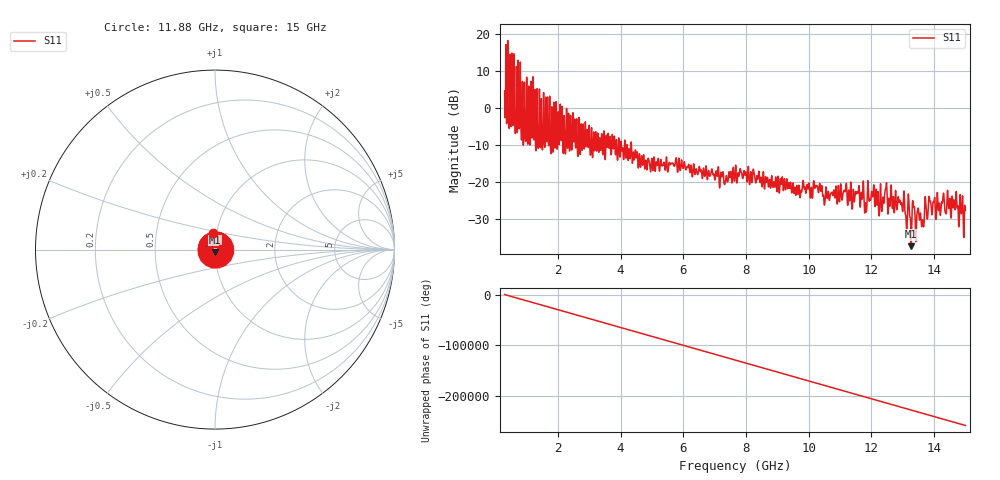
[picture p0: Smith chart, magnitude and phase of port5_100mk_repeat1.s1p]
# GHZ S RI R 50.0
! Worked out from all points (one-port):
!   12801 points, 300 MHz to 15 GHz, reference 50 ohm
!   lowest |S11| = -37.2 dB at 13.27 GHz (marker M1), VSWR 1.03, Z = 49.8 - j1.35 ohm
!   |S11| at or under -10 dB: 4.023 GHz to 4.125 GHz (101.6 MHz wide, 2.49 % of centre); 4.21 GHz to 4.329 GHz (119.7 MHz wide, 2.8 % of centre); 4.345 GHz to end of sweep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
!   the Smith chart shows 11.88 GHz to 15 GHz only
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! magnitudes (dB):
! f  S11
! 300 MHz  4.6
! 698.5 MHz  -6.4
! 739.9 MHz  3.4
! 904.1 MHz  -9.5
! 1.2 GHz  3.4
! 1.439 GHz  -10.6
! 2.138 GHz  0.3
! 2.232 GHz  -12.1
! 2.537 GHz  -3.2
! 2.693 GHz  -10.8
! 2.936 GHz  -5.9
! 3.095 GHz  -12.4
! 3.975 GHz  -13.2
! 4.981 GHz  -14.8
! 5.812 GHz  -17.1
! 7.361 GHz  -18.7
! 7.65 GHz  -18.4
! 9.488 GHz  -20.7
! 11.32 GHz  -23.3
! 12.02 GHz  -23.4
! 12.29 GHz  -20.4
! 12.43 GHz  -22.5
! 13.16 GHz  -26.7
! 13.27 GHz  -37.2
! 13.61 GHz  -31.7
! 13.89 GHz  -25.3
! 14.65 GHz  -26.1
! 15 GHz  -27.6
